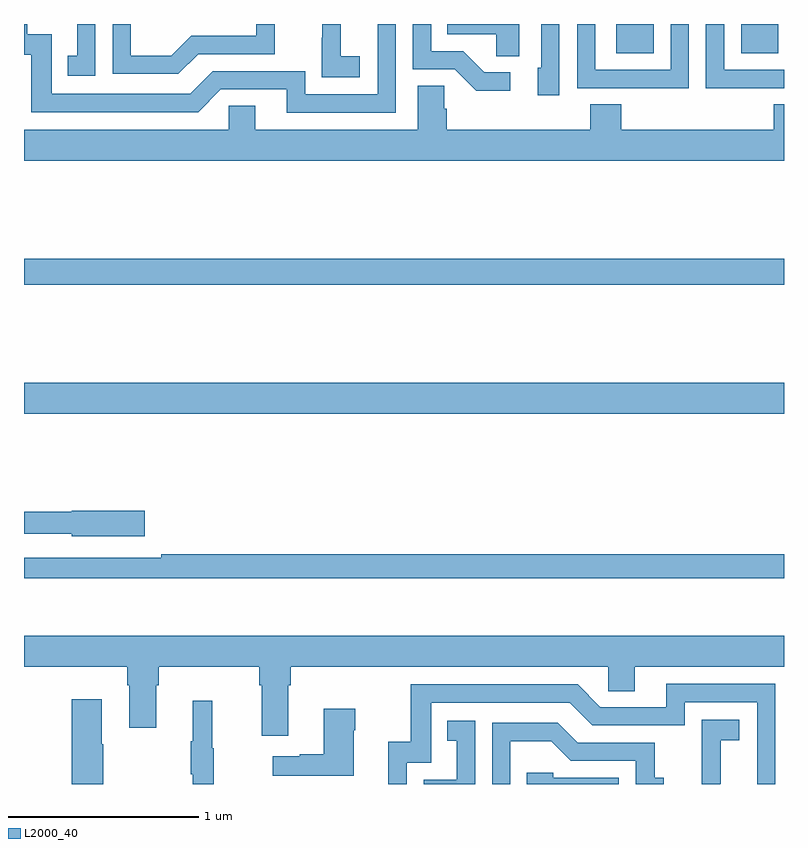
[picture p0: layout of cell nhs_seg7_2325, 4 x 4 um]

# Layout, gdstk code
import gdstk
lib = gdstk.Library(unit=1e-6, precision=1e-09)
def R(c, l, rs):  # rectangles x0, y0, x1, y1
    for r in rs: c.add(gdstk.rectangle(r[:2], r[2:], *l))
def P(c, l, *ps):  # polygons
    for p in ps: c.add(gdstk.Polygon(p, *l))
L2000_40 = (2000, 40)

nhs_seg7_2325 = lib.new_cell('nhs_seg7_2325')
R(nhs_seg7_2325, L2000_40, [(263,1001.948,267,1002.112), (263,1002.628,267,1002.764), (266.117,1003.847,266.314,1004), (266.774,1003.847,266.971,1004)])
P(nhs_seg7_2325, L2000_40, [(266.861,1003.662),(267,1003.662),(267,1003.758),(266.685,1003.758),(266.685,1004),(266.589,1004),(266.589,1003.661),(266.861,1003.661)],
  [(266.499,1004),(266.403,1004),(266.403,1003.758),(266.007,1003.758),(266.007,1004),(265.911,1004),(265.911,1003.662),(266.227,1003.662),(266.227,1003.661),(266.499,1003.661)],
  [(265.818,1004),(265.722,1004),(265.722,1003.77),(265.703,1003.77),(265.703,1003.626),(265.818,1003.626)],
  [(264.957,1004),(264.861,1004),(264.861,1003.629),(264.48,1003.629),(264.48,1003.752),(263.994,1003.752),(263.874,1003.632),(263.145,1003.632),(263.145,1003.947),(263.016,1003.947),(263.016,1004),(263,1004),(263,1003.839),(263.037,1003.839),(263.037,1003.536),(263.916,1003.536),(264.036,1003.656),(264.383,1003.656),(264.383,1003.533),(264.957,1003.533)],
  [(263.917,1003.842),(264.321,1003.842),(264.321,1004),(264.222,1004),(264.222,1003.938),(263.88,1003.938),(263.776,1003.834),(263.562,1003.834),(263.562,1004),(263.466,1004),(263.466,1003.737),(263.812,1003.737)],
  [(264.766,1003.831),(264.668,1003.831),(264.668,1004),(264.569,1004),(264.569,1003.927),(264.568,1003.927),(264.568,1003.721),(264.766,1003.721)],
  [(263.376,1004),(263.279,1004),(263.279,1003.833),(263.23,1003.833),(263.23,1003.728),(263.376,1003.728)],
  [(265.558,1003.746),(265.423,1003.746),(265.312,1003.857),(265.143,1003.857),(265.143,1004),(265.047,1004),(265.047,1003.761),(265.266,1003.761),(265.379,1003.649),(265.558,1003.649)],
  [(265.606,1004),(265.228,1004),(265.228,1003.946),(265.485,1003.946),(265.485,1003.831),(265.606,1003.831)],
  [(267,1003.577),(266.945,1003.577),(266.945,1003.444),(266.144,1003.444),(266.144,1003.577),(265.979,1003.577),(265.979,1003.444),(265.226,1003.444),(265.226,1003.553),(265.212,1003.553),(265.212,1003.676),(265.073,1003.676),(265.073,1003.444),(264.217,1003.444),(264.217,1003.571),(264.078,1003.571),(264.078,1003.444),(263,1003.444),(263,1003.28),(267,1003.28)],
  [(263.635,1001.438),(263.25,1001.438),(263.25,1001.432),(263,1001.432),(263,1001.316),(263.25,1001.316),(263.25,1001.303),(263.635,1001.303)],
  [(267,1001.21),(263.722,1001.21),(263.722,1001.19),(263,1001.19),(263,1001.082),(267,1001.082)],
  [(264.391,1000.52),(264.404,1000.52),(264.404,1000.616),(266.076,1000.616),(266.076,1000.489),(266.215,1000.489),(266.215,1000.616),(267,1000.616),(267,1000.78),(263,1000.78),(263,1000.616),(263.543,1000.616),(263.543,1000.52),(263.555,1000.52),(263.555,1000.296),(263.695,1000.296),(263.695,1000.52),(263.708,1000.52),(263.708,1000.616),(264.239,1000.616),(264.239,1000.52),(264.251,1000.52),(264.251,1000.254),(264.391,1000.254)],
  [(265.014,1000.113),(265.143,1000.113),(265.143,1000.428),(265.872,1000.428),(265.992,1000.308),(266.478,1000.308),(266.478,1000.431),(266.859,1000.431),(266.859,1000),(266.955,1000),(266.955,1000.527),(266.381,1000.527),(266.381,1000.404),(266.034,1000.404),(265.914,1000.524),(265.035,1000.524),(265.035,1000.222),(264.917,1000.222),(264.917,1000),(265.014,1000)],
  [(263.418,1000.208),(263.41,1000.208),(263.41,1000.447),(263.252,1000.447),(263.252,1000),(263.418,1000)],
  [(263.998,1000.188),(263.99,1000.188),(263.99,1000.438),(263.888,1000.438),(263.888,1000.225),(263.877,1000.225),(263.877,1000.051),(263.888,1000.051),(263.888,1000),(263.998,1000)],
  [(264.736,1000.283),(264.744,1000.283),(264.744,1000.396),(264.578,1000.396),(264.578,1000.157),(264.452,1000.157),(264.452,1000.147),(264.309,1000.147),(264.309,1000.043),(264.736,1000.043)],
  [(266.664,1000.001),(266.666,1000.001),(266.666,1000.229),(266.764,1000.229),(266.764,1000.339),(266.566,1000.339),(266.566,1000.133),(266.567,1000.133),(266.567,1000),(266.664,1000)],
  [(265.374,1000.333),(265.228,1000.333),(265.228,1000.227),(265.277,1000.227),(265.277,1000.023),(265.104,1000.023),(265.104,1000),(265.374,1000)],
  [(265.56,1000.226),(265.774,1000.226),(265.878,1000.122),(266.22,1000.122),(266.22,1000),(266.368,1000),(266.368,1000.033),(266.319,1000.033),(266.319,1000.218),(265.915,1000.218),(265.81,1000.323),(265.464,1000.323),(265.464,1000),(265.56,1000)],
  [(266.13,1000.032),(265.785,1000.032),(265.785,1000.059),(265.645,1000.059),(265.645,1000),(266.13,1000)])

lib.write_gds('nhs_seg7_2325.gds')
